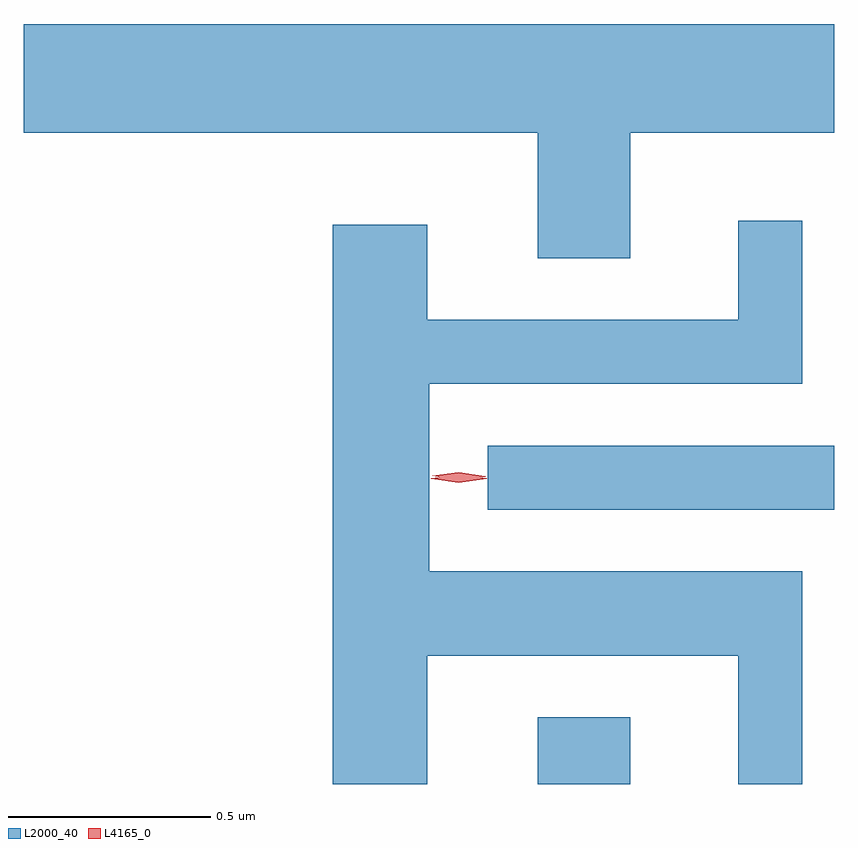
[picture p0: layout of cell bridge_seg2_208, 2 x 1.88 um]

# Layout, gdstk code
import gdstk
lib = gdstk.Library(unit=1e-6, precision=1e-09)
def R(c, l, rs):  # rectangles x0, y0, x1, y1
    for r in rs: c.add(gdstk.rectangle(r[:2], r[2:], *l))
def P(c, l, *ps):  # polygons
    for p in ps: c.add(gdstk.Polygon(p, *l))
L2000_40 = (2000, 40)
L4165_0 = (4165, 0)

bridge_seg2_208 = lib.new_cell('bridge_seg2_208')
R(bridge_seg2_208, L2000_40, [(888.831,1035.609,889.059,1035.774), (888.708,1036.286,889.563,1036.444)])
P(bridge_seg2_208, L2000_40, [(889.059,1037.216),(889.563,1037.216),(889.563,1037.484),(887.563,1037.484),(887.563,1037.216),(888.831,1037.216),(888.831,1036.906),(889.059,1036.906)],
  [(888.559,1035.926),(889.326,1035.926),(889.326,1035.609),(889.484,1035.609),(889.484,1036.134),(888.564,1036.134),(888.564,1036.596),(889.484,1036.596),(889.484,1036.998),(889.326,1036.998),(889.326,1036.754),(888.559,1036.754),(888.559,1036.989),(888.326,1036.989),(888.326,1035.609),(888.559,1035.609)])
P(bridge_seg2_208, L4165_0, [(888.636,1036.359),(888.571,1036.369),(888.57,1036.369),(888.571,1036.37),(888.637,1036.378),(888.702,1036.368),(888.703,1036.368),(888.702,1036.367)],
  [(888.637,1036.352),(888.568,1036.362),(888.567,1036.362),(888.568,1036.363),(888.637,1036.372),(888.706,1036.363),(888.706,1036.362),(888.706,1036.362)])

lib.write_gds('bridge_seg2_208.gds')
